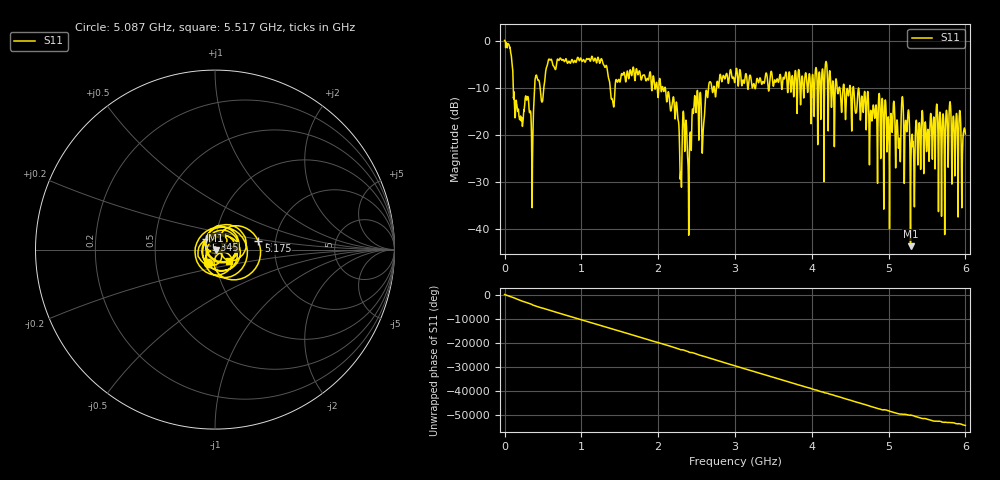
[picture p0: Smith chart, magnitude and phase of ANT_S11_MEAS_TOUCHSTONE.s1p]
# GHZ S DB R 50.000000000000
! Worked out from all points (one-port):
!   4501 points, 1 MHz to 6 GHz, reference 50 ohm
!   lowest |S11| = -43.6 dB at 5.285 GHz (marker M1), VSWR 1.01, Z = 50.6 - j0.219 ohm
!   |S11| at or under -10 dB: 113.9 MHz to 390.2 MHz (276.3 MHz wide, 110 % of centre); 2.093 GHz to 2.655 GHz (561.9 MHz wide, 23.7 % of centre); 4.545 GHz to end of sweep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
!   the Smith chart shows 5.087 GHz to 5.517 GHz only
!   S11 on the Smith chart (normalised r, x): 5.087 GHz: 0.92, -0.14; 5.175 GHz: 1.63, +0.16; 5.345 GHz: 0.90, +0.10; 5.517 GHz: 1.15, -0.15
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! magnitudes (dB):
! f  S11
! 1 MHz  0.1
! 76.99 MHz  -2.1
! 146.3 MHz  -13.7
! 293 MHz  -12.3
! 347.6 MHz  -17.6
! 418.3 MHz  -7.5
! 751.5 MHz  -4.1
! 1.243 GHz  -4.6
! 1.406 GHz  -12.7
! 1.501 GHz  -8.8
! 1.879 GHz  -8.0
! 2.251 GHz  -15.5
! 2.285 GHz  -28.3
! 2.345 GHz  -23.0
! 2.405 GHz  -26.0
! 2.491 GHz  -15.1
! 2.587 GHz  -18.9
! 2.673 GHz  -8.7
! 3.001 GHz  -8.5
! 3.751 GHz  -7.8
! 4.5 GHz  -9.6
! 5.087 GHz  -21.4
! 5.175 GHz  -12.2
! 5.251 GHz  -15.5
! 5.285 GHz  -43.6
! 5.345 GHz  -22.3
! 5.517 GHz  -20.0
! 6 GHz  -19.8
